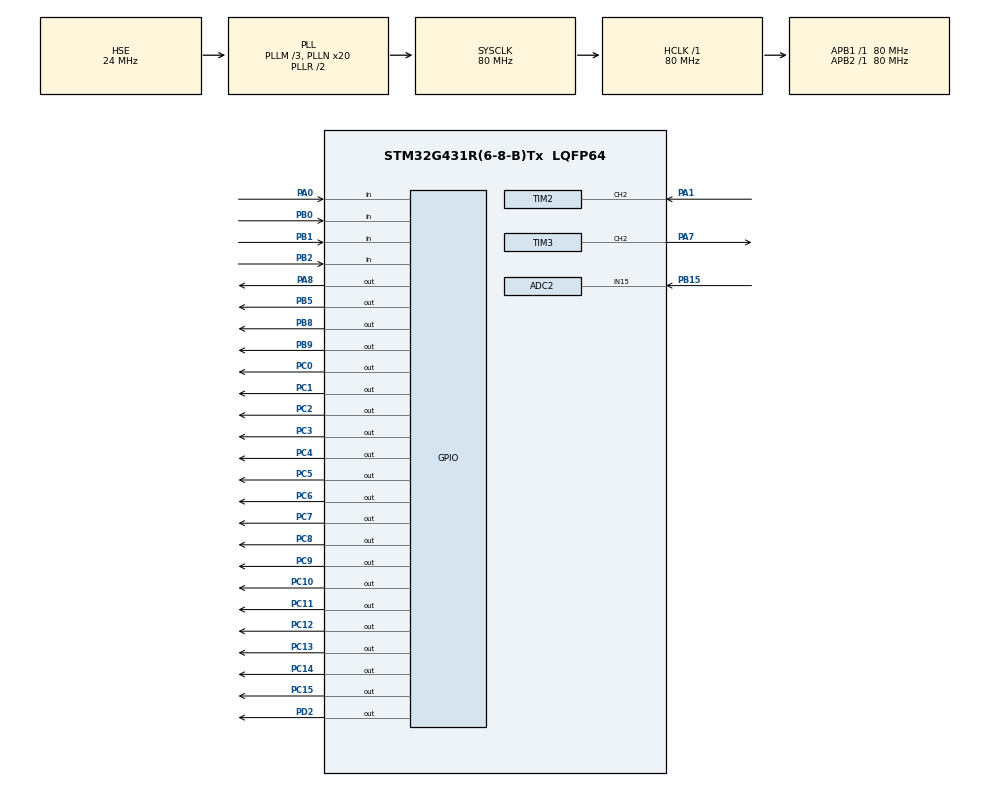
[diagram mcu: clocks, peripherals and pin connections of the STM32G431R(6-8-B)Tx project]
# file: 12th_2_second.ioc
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ADC2.Channel-0\#ChannelRegularConversion=ADC_CHANNEL_15
ADC2.NbrOfConversionFlag=1
ADC2.OffsetNumber-0\#ChannelRegularConversion=ADC_OFFSET_NONE
ADC2.Rank-0\#ChannelRegularConversion=1
ADC2.SamplingTime-0\#ChannelRegularConversion=ADC_SAMPLETIME_2CYCLES_5
Mcu.Family=STM32G4
Mcu.Name=STM32G431R(6-8-B)Tx
Mcu.Package=LQFP64
NVIC.PriorityGroup=NVIC_PRIORITYGROUP_4
NVIC.TIM2_IRQn=true\:0\:0\:false\:false\:true\:true\:true\:true
NVIC.TIM4_IRQn=true\:0\:0\:false\:false\:true\:true\:true\:true
PA0.GPIO_PuPd=GPIO_PULLUP
PA0.Signal=GPIO_Input
PA1.Signal=S_TIM2_CH2
PA13.Mode=Serial_Wire
PA13.Signal=SYS_JTMS-SWDIO
PA14.Mode=Serial_Wire
PA14.Signal=SYS_JTCK-SWCLK
PA7.Signal=S_TIM3_CH2
PA8.Signal=GPIO_Output
PB0.GPIO_PuPd=GPIO_PULLUP
PB0.Signal=GPIO_Input
PB1.GPIO_PuPd=GPIO_PULLUP
PB1.Signal=GPIO_Input
PB15.Mode=IN15-Single-Ended
PB15.Signal=ADC2_IN15
PB2.GPIO_PuPd=GPIO_PULLUP
PB2.Signal=GPIO_Input
PB5.Signal=GPIO_Output
PB8-BOOT0.Signal=GPIO_Output
PB9.Signal=GPIO_Output
PC0.Signal=GPIO_Output
PC1.Signal=GPIO_Output
PC10.PinState=GPIO_PIN_SET
PC10.Signal=GPIO_Output
PC11.PinState=GPIO_PIN_SET
PC11.Signal=GPIO_Output
PC12.PinState=GPIO_PIN_SET
PC12.Signal=GPIO_Output
PC13.PinState=GPIO_PIN_SET
PC13.Signal=GPIO_Output
PC14-OSC32_IN.PinState=GPIO_PIN_SET
PC14-OSC32_IN.Signal=GPIO_Output
PC15-OSC32_OUT.PinState=GPIO_PIN_SET
PC15-OSC32_OUT.Signal=GPIO_Output
PC2.Signal=GPIO_Output
PC3.Signal=GPIO_Output
PC4.Signal=GPIO_Output
PC5.Signal=GPIO_Output
PC6.Signal=GPIO_Output
PC7.Signal=GPIO_Output
PC8.PinState=GPIO_PIN_SET
PC8.Signal=GPIO_Output
PC9.PinState=GPIO_PIN_SET
PC9.Signal=GPIO_Output
PD2.Signal=GPIO_Output
PF0-OSC_IN.Mode=HSE-External-Oscillator
PF0-OSC_IN.Signal=RCC_OSC_IN
PF1-OSC_OUT.Mode=HSE-External-Oscillator
PF1-OSC_OUT.Signal=RCC_OSC_OUT
ProjectManager.HeapSize=0x200
ProjectManager.StackSize=0x400
ProjectManager.TargetToolchain=MDK-ARM V5.32
RCC.ADC12Freq_Value=80000000
RCC.AHBFreq_Value=80000000
RCC.APB1Freq_Value=80000000
RCC.APB1TimFreq_Value=80000000
RCC.APB2Freq_Value=80000000
RCC.APB2TimFreq_Value=80000000
RCC.CortexFreq_Value=80000000
RCC.EXTERNAL_CLOCK_VALUE=12288000
RCC.HCLKFreq_Value=80000000
RCC.HSE_VALUE=24000000
RCC.HSI48_VALUE=48000000
RCC.HSI_VALUE=16000000
RCC.LSE_VALUE=32768
RCC.PLLM=RCC_PLLM_DIV3
RCC.PLLN=20
RCC.PLLSourceVirtual=RCC_PLLSOURCE_HSE
RCC.SYSCLKFreq_VALUE=80000000
RCC.SYSCLKSource=RCC_SYSCLKSOURCE_PLLCLK
RCC.USBFreq_Value=80000000
RCC.VCOOutputFreq_Value=160000000
SH.S_TIM2_CH2.0=TIM2_CH2,Input_Capture2_from_TI2
SH.S_TIM3_CH2.0=TIM3_CH2,PWM Generation2 CH2
TIM2.Channel-Input_Capture2_from_TI2=TIM_CHANNEL_2
TIM2.Prescaler=80-1
TIM3.Channel-PWM\ Generation2\ CH2=TIM_CHANNEL_2
TIM3.PeriodNoDither=100-1
TIM3.Prescaler=800-1
TIM4.PeriodNoDither=10000-1
TIM4.Prescaler=80-1
VP_SYS_VS_DBSignals.Mode=DisableDeadBatterySignals
VP_TIM2_VS_ClockSourceINT.Mode=Internal
VP_TIM3_VS_ClockSourceINT.Mode=Internal
VP_TIM4_VS_ClockSourceINT.Mode=Internal
board=custom

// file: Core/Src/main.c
/* USER CODE BEGIN Header */
/**
  ******************************************************************************
  * @file           : main.c
  * @brief          : Main program body
  ******************************************************************************
  * @attention
  *
  * Copyright (c) 2024 STMicroelectronics.
  * All rights reserved.
  *
  * This software is licensed under terms that can be found in the LICENSE file
  * in the root directory of this software component.
  * If no LICENSE file comes with this software, it is provided AS-IS.
  *
  ******************************************************************************
  */
/* USER CODE END Header */
#include "main.h"
#include "adc.h"
#include "tim.h"
#include "gpio.h"

/* USER CODE BEGIN Includes */

#include "stdio.h"
#include "string.h"

#include "led.h"
#include "lcd.h"
#include "myadc.h"
#include "timer.h"

/* USER CODE END Includes */

/* USER CODE BEGIN PTD */

unsigned char ucled=0x00;
unsigned char lcd_text[30];
unsigned char view=0;

__IO uint32_t uwTick_Led;
__IO uint32_t uwTick_Lcd;

double R37_V;
unsigned int R=4;

unsigned char LED_Flag=0;

/* USER CODE END PTD */

void SystemClock_Config(void);
/* USER CODE BEGIN PFP */

void lcd_proc(void);
void key_proc(void);
void led_proc(void);
void PA7_change(void);

/* USER CODE END PFP */

int main(void)
{

  /* MCU Configuration--------------------------------------------------------*/

  /* Reset of all peripherals, Initializes the Flash interface and the Systick. */
  HAL_Init();

  /* Configure the system clock */
  SystemClock_Config();

  /* Initialize all configured peripherals */
  MX_GPIO_Init();
  MX_ADC2_Init();
  MX_TIM2_Init();
  MX_TIM3_Init();
  MX_TIM4_Init();
  /* USER CODE BEGIN 2 */

    led_disp(ucled);

    LCD_Init();
    LCD_Clear(Black);
    LCD_SetBackColor(Black);
    LCD_SetTextColor(White);

    HAL_TIM_Base_Start_IT(&htim4);

    HAL_TIM_PWM_Start(&htim3,TIM_CHANNEL_2);

    HAL_TIM_IC_Start_IT(&htim2,TIM_CHANNEL_2);

  /* USER CODE END 2 */

  /* Infinite loop */
  while (1)
  {

    /* USER CODE BEGIN 3 */
      key_proc();
      lcd_proc();
      PA7_change();
      led_proc();
  }
  /* USER CODE END 3 */
}

void SystemClock_Config(void)
{
  RCC_OscInitTypeDef RCC_OscInitStruct = {0};
  RCC_ClkInitTypeDef RCC_ClkInitStruct = {0};

  /** Configure the main internal regulator output voltage
  */
  HAL_PWREx_ControlVoltageScaling(PWR_REGULATOR_VOLTAGE_SCALE1);

  /** Initializes the RCC Oscillators according to the specified parameters
  * in the RCC_OscInitTypeDef structure.
  */
  RCC_OscInitStruct.OscillatorType = RCC_OSCILLATORTYPE_HSE;
  RCC_OscInitStruct.HSEState = RCC_HSE_ON;
  RCC_OscInitStruct.PLL.PLLState = RCC_PLL_ON;
  RCC_OscInitStruct.PLL.PLLSource = RCC_PLLSOURCE_HSE;
  RCC_OscInitStruct.PLL.PLLM = RCC_PLLM_DIV3;
  RCC_OscInitStruct.PLL.PLLN = 20;
  RCC_OscInitStruct.PLL.PLLP = RCC_PLLP_DIV2;
  RCC_OscInitStruct.PLL.PLLQ = RCC_PLLQ_DIV2;
  RCC_OscInitStruct.PLL.PLLR = RCC_PLLR_DIV2;
  if (HAL_RCC_OscConfig(&RCC_OscInitStruct) != HAL_OK)
  {
    Error_Handler();
  }

  /** Initializes the CPU, AHB and APB buses clocks
  */
  RCC_ClkInitStruct.ClockType = RCC_CLOCKTYPE_HCLK|RCC_CLOCKTYPE_SYSCLK
                              |RCC_CLOCKTYPE_PCLK1|RCC_CLOCKTYPE_PCLK2;
  RCC_ClkInitStruct.SYSCLKSource = RCC_SYSCLKSOURCE_PLLCLK;
  RCC_ClkInitStruct.AHBCLKDivider = RCC_SYSCLK_DIV1;
  RCC_ClkInitStruct.APB1CLKDivider = RCC_HCLK_DIV1;
  RCC_ClkInitStruct.APB2CLKDivider = RCC_HCLK_DIV1;

  if (HAL_RCC_ClockConfig(&RCC_ClkInitStruct, FLASH_LATENCY_2) != HAL_OK)
  {
    Error_Handler();
  }
}

/* USER CODE BEGIN 4 */

void lcd_proc(void)
{
    if((uwTick-uwTick_Lcd)<100)return;
    uwTick_Lcd=uwTick;

    switch(view)
    {
        case 0://数据显示界面
            memset(lcd_text,0,sizeof(lcd_text));
            sprintf((char *)lcd_text,"       Data          ");
            LCD_DisplayStringLine(Line1,lcd_text);

            memset(lcd_text,0,sizeof(lcd_text));
            sprintf((char *)lcd_text,"   FRQ:%dHz          ",pa1_frq);
            LCD_DisplayStringLine(Line3,lcd_text);

            memset(lcd_text,0,sizeof(lcd_text));
            sprintf((char *)lcd_text,"   R37:%0.2fV            ",R37_V);
            LCD_DisplayStringLine(Line5,lcd_text);

            break;
        case 1://参数设置界面
            memset(lcd_text,0,sizeof(lcd_text));
            sprintf((char *)lcd_text,"       Para          ");
            LCD_DisplayStringLine(Line1,lcd_text);

            memset(lcd_text,0,sizeof(lcd_text));
            sprintf((char *)lcd_text,"      R:%d          ",R);
            LCD_DisplayStringLine(Line3,lcd_text);

            break;
    }

}

void key_proc(void)
{
    if(1==key[0].single_flag)//界面切换
    {
        key[0].single_flag=0;
        view=!view;
        LCD_Clear(Black);
    }
    else if(1==key[1].single_flag)//R增加2
    {
        key[1].single_flag=0;
        R+=2;
        if(R==12)R=2;
    }
    else if(1==key[2].single_flag)//R减少2
    {
        key[2].single_flag=0;
        R-=2;
        if(R==0)R=10;
    }
    else if(1==key[3].single_flag)//启用或禁用LED灯
    {
        key[3].single_flag=0;
        LED_Flag=!LED_Flag;
    }
}

void PA7_change(void)
{
    R37_V=Get_Adc(&hadc2);

    //频率=（80MHZ）/（重装载值+1）/（预分频系数+1）
    unsigned int frq;
    frq=80000000/100/(pa1_frq/R)-1;
    //预分频系数=（80000000/100/频率）-1

    __HAL_TIM_SET_PRESCALER(&htim3,frq);

    //占空比=（（比较值）/重装载值）*100
    double duty;
    duty=(100/3.3)*R37_V;
    __HAL_TIM_SetCompare(&htim3,TIM_CHANNEL_2,duty);
}

void led_proc(void)
{
    if((uwTick-uwTick_Led)<50)return;
    uwTick_Led=uwTick;
    //LED指示灯功能启用
    if(0==LED_Flag)
    {
        if(0==view)
        {
            ucled|=0x01;
            ucled&=0xfd;
        }
        else if(1==view)
        {
            ucled|=0x02;
            ucled&=0xfe;
        }

        if((R37_V<1.0)||(R37_V>=3.0))
        {
            ucled&=0xfb;
        }
        else
        {
            ucled|=0x04;
        }

        if((pa1_frq<1000)||(pa1_frq>5000))
        {
            ucled&=0xf7;
        }
        else
        {
            ucled|=0x08;
        }

        led_disp(ucled);

    }
    //禁用LED指示灯功能
    else
    {
        led_disp(0x00);
    }
}

/* USER CODE END 4 */

void Error_Handler(void)
{
  __disable_irq();
  while (1)
  {
  }
}
